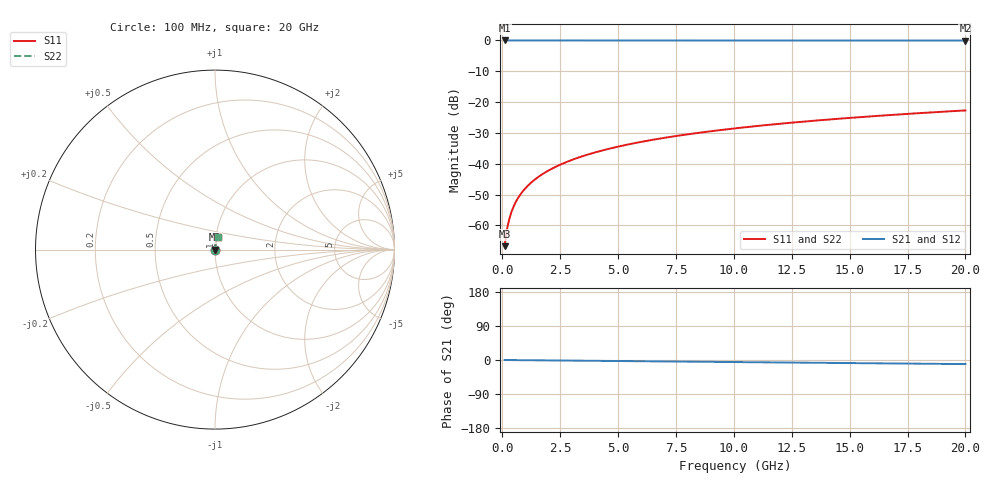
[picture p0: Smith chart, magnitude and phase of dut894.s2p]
! Touchstone file exported from HFSS 2026.1.0
!  File:  C:/ffzhzh/LocalFiles/Ansys_Project_Files/temp_train_TSV_894_1783186001_43440.aedt
!  Generated:  01:28:18 AM Jul  5, 2026
!  Design:  TSV
!  Project:  temp_train_TSV_894_1783186001_43440
! Variables:
!  h_bsmrdl = 2um
!  h_ox = 20um
!  h_rdl = 5um
!  h_sub = 96.59um
!  h_tmrdl = 5um
!  h_tsv = 96.59um
!  h_via = 3um
!  l_bsmrdl = 300um
!  l_sub = 416.64um
!  l_tmrdl = 200um
!  m_sub = 200um
!  pitch = 58.71um
!  r_tsv = 8.32um
!  s_tmrdl = 10um
!  w_bsmrdl = 18um
!  w_sub = 500um
!  w_tmrdl = 12um
!  x_tsv_center1 = 206um
!  x_tsv_center2 = 524um
!  x_tsv_center3 = 736um
!  x_tsv_center4 = 1054um
!  x_tsv_center5 = 1266um
!  x_tsv_center6 = 1584um
# GHz S MA R 50.000000
! Terminal data exported
! Port[1] = TSV1_1_T1
! Port[2] = TSV1_1_T2
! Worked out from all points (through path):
!   200 points, 100 MHz to 20 GHz, reference 50 ohm
!   highest |S21| = 0.00 dB at 100 MHz (marker M1); lowest = 0.0 dB at 20 GHz (marker M2)
!   group delay of S21, straight-line fit = 1.5 ps
!   lowest |S11| = -66.8 dB at 100 MHz (marker M3), VSWR 1.00, Z = 50 + j0.0416 ohm
!   |S11| at or under -10 dB: start of sweep to end of sweep
!   |S22| runs from -66.8 to -22.7 dB; largest |S21 - S12| = 3.2e-15
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0.1  0.0004587 65.1  0.9998 -0.1  0.9998 -0.1  0.0004587 65.1
! Gamma 0 0 0 0
! Port Impedance 50 0 50 0
0.2  0.0008551 76.1  0.9998 -0.1  0.9998 -0.1  0.0008551 76.1
0.3  0.00126 79.8  0.9998 -0.2  0.9998 -0.2  0.00126 79.8
0.4  0.001664 81.5  0.9998 -0.2  0.9998 -0.2  0.001664 81.5
0.5  0.002064 82.4  0.9997 -0.3  0.9997 -0.3  0.002064 82.4
0.6  0.00246 82.9  0.9997 -0.3  0.9997 -0.3  0.00246 82.9
0.7  0.002851 83.3  0.9997 -0.4  0.9997 -0.4  0.002851 83.3
0.8  0.003239 83.6  0.9997 -0.4  0.9997 -0.4  0.003239 83.6
1  0.004005 83.9  0.9996 -0.6  0.9996 -0.6  0.004005 83.9
1.4  0.005515 84.5  0.9995 -0.8  0.9995 -0.8  0.005515 84.5
1.7  0.00664 84.7  0.9995 -0.9  0.9995 -0.9  0.00664 84.7
2  0.007763 84.9  0.9994 -1.1  0.9994 -1.1  0.007763 84.9
2.7  0.01038 85.1  0.9993 -1.5  0.9993 -1.5  0.01038 85.1
3.5  0.01336 85.1  0.9992 -1.9  0.9992 -1.9  0.01336 85.1
4.2  0.01596 85.0  0.9991 -2.3  0.9991 -2.3  0.01596 85.0
5  0.01892 84.8  0.999 -2.7  0.999 -2.7  0.01892 84.8
6.8  0.02555 84.1  0.9987 -3.7  0.9987 -3.7  0.02555 84.1
8.3  0.03105 83.5  0.9984 -4.5  0.9984 -4.5  0.03105 83.5
10.1  0.03762 82.7  0.9981 -5.5  0.9981 -5.5  0.03762 82.7
13.4  0.04959 81.2  0.9974 -7.3  0.9974 -7.3  0.04959 81.2
16.7  0.06146 79.6  0.9966 -9.0  0.9966 -9.0  0.06146 79.6
20  0.0732 77.9  0.9957 -10.8  0.9957 -10.8  0.0732 77.9
